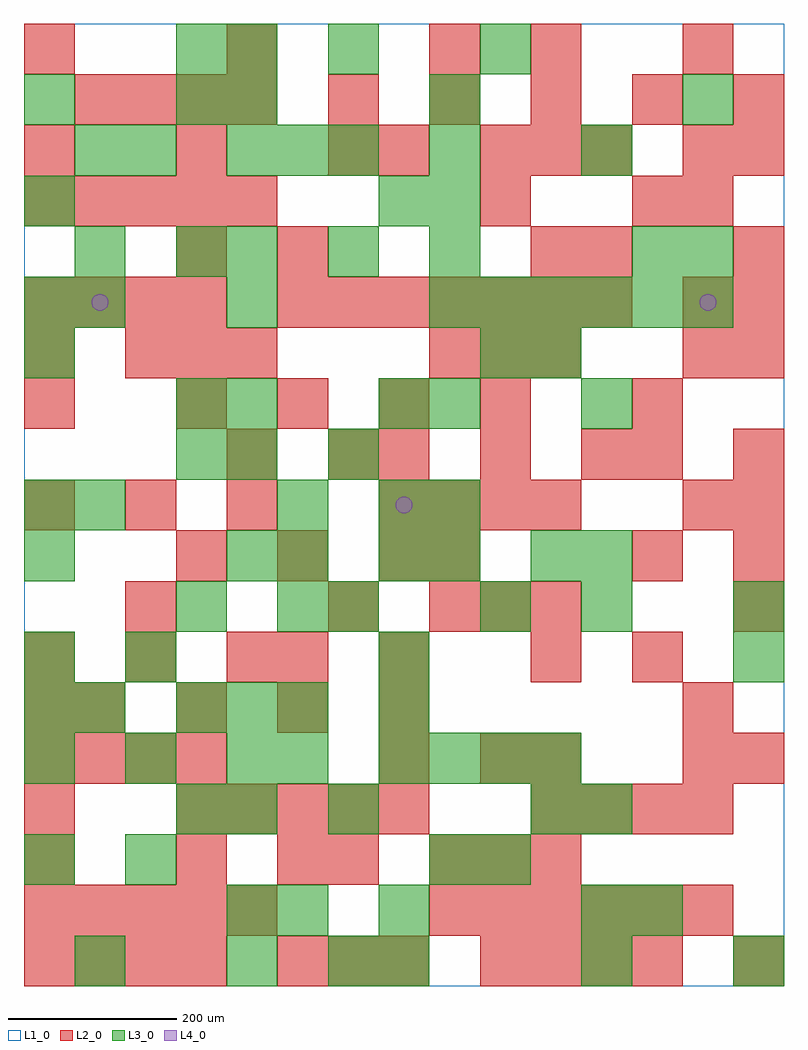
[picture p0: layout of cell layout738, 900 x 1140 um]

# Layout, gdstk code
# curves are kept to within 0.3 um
import gdstk
lib = gdstk.Library(unit=1e-6, precision=1e-09)
def R(c, l, rs):  # rectangles x0, y0, x1, y1
    for r in rs: c.add(gdstk.rectangle(r[:2], r[2:], *l))
def A(c, l, x, y, w, h, nx, ny, dx, dy):  # array of equal rectangles
    R(c, l, [(x+i*dx, y+j*dy, x+i*dx+w, y+j*dy+h) for i in range(nx) for j in range(ny)])
def P(c, l, *ps):  # polygons
    for p in ps: c.add(gdstk.Polygon(p, *l))
L1_0 = (1, 0)
L2_0 = (2, 0)
L3_0 = (3, 0)
L4_0 = (4, 0)

layout738 = lib.new_cell('layout738')
R(layout738, L1_0, [(0,0,900,1140)])
A(layout738, L2_0, 0, 0, 60, 60, 4, 2, 60, 240)
A(layout738, L2_0, 300, 0, 60, 60, 3, 1, 60, 0)
A(layout738, L2_0, 540, 0, 60, 60, 4, 1, 60, 0)
A(layout738, L2_0, 0, 60, 60, 60, 5, 2, 60, 840)
A(layout738, L2_0, 480, 60, 60, 60, 6, 1, 60, 0)
A(layout738, L2_0, 480, 120, 60, 60, 3, 3, 60, 300)
A(layout738, L2_0, 180, 180, 60, 60, 5, 1, 60, 0)
A(layout738, L2_0, 600, 180, 60, 60, 4, 1, 60, 0)
A(layout738, L2_0, 60, 300, 60, 60, 4, 1, 120, 0)
A(layout738, L2_0, 0, 360, 60, 60, 3, 2, 120, 180)
A(layout738, L2_0, 720, 360, 60, 60, 1, 3, 0, 120)
A(layout738, L2_0, 840, 420, 60, 60, 1, 4, 0, 60)
A(layout738, L2_0, 180, 480, 60, 60, 3, 1, 120, 0)
A(layout738, L2_0, 420, 540, 60, 60, 4, 1, 60, 0)
A(layout738, L2_0, 420, 600, 60, 60, 3, 1, 120, 0)
A(layout738, L2_0, 180, 660, 60, 60, 4, 1, 120, 0)
A(layout738, L2_0, 120, 720, 60, 60, 3, 1, 60, 0)
A(layout738, L2_0, 840, 720, 60, 60, 1, 3, 0, 60)
A(layout738, L2_0, 0, 780, 60, 60, 4, 1, 60, 0)
A(layout738, L2_0, 300, 780, 60, 60, 7, 1, 60, 0)
A(layout738, L2_0, 0, 960, 60, 60, 3, 1, 180, 0)
A(layout738, L2_0, 540, 960, 60, 60, 3, 1, 60, 0)
A(layout738, L2_0, 60, 1020, 60, 60, 4, 1, 60, 0)
A(layout738, L2_0, 360, 1020, 60, 60, 5, 1, 120, 0)
A(layout738, L2_0, 0, 1080, 60, 60, 3, 1, 240, 0)
R(layout738, L2_0, [(840,0,900,60), (0,120,60,180), (180,120,240,180), (300,120,360,180), (360,120,420,180), (0,180,60,240), (420,240,480,300), (540,240,600,300), (600,240,660,300), (780,240,840,300), (840,240,900,300), (0,300,60,360), (780,300,840,360), (300,360,360,420), (420,360,480,420), (600,360,660,420), (120,420,180,480), (360,420,420,480), (480,480,540,540), (780,540,840,600), (240,600,300,660), (360,600,420,660), (0,660,60,720), (720,660,780,720), (0,720,60,780), (780,720,840,780), (780,780,840,840), (180,840,240,900), (300,840,360,900), (600,840,660,900), (660,840,720,900), (540,900,600,960), (720,900,780,960), (780,900,840,960), (420,960,480,1020), (780,960,840,1020), (840,960,900,1020), (600,1080,660,1140), (780,1080,840,1140)])
A(layout738, L3_0, 300, 60, 60, 60, 1, 3, 0, 180)
A(layout738, L3_0, 540, 120, 60, 60, 1, 3, 0, 300)
A(layout738, L3_0, 0, 240, 60, 60, 3, 1, 120, 0)
A(layout738, L3_0, 420, 240, 60, 60, 4, 1, 60, 0)
A(layout738, L3_0, 60, 300, 60, 60, 1, 3, 0, 240)
A(layout738, L3_0, 180, 300, 60, 60, 3, 1, 60, 0)
A(layout738, L3_0, 180, 660, 60, 60, 1, 3, 0, 180)
A(layout738, L3_0, 0, 780, 60, 60, 1, 3, 0, 120)
A(layout738, L3_0, 480, 780, 60, 60, 6, 1, 60, 0)
A(layout738, L3_0, 240, 840, 60, 60, 3, 1, 120, 0)
A(layout738, L3_0, 480, 900, 60, 60, 1, 3, 0, 60)
A(layout738, L3_0, 240, 960, 60, 60, 3, 1, 60, 0)
R(layout738, L3_0, [(60,0,120,60), (240,0,300,60), (360,0,420,60), (420,0,480,60), (660,0,720,60), (840,0,900,60), (240,60,300,120), (420,60,480,120), (660,60,720,120), (720,60,780,120), (0,120,60,180), (120,120,180,180), (480,120,540,180), (180,180,240,240), (240,180,300,240), (360,180,420,240), (600,180,660,240), (660,180,720,240), (0,300,60,360), (420,300,480,360), (0,360,60,420), (120,360,180,420), (420,360,480,420), (840,360,900,420), (180,420,240,480), (360,420,420,480), (660,420,720,480), (840,420,900,480), (0,480,60,540), (240,480,300,540), (300,480,360,540), (420,480,480,540), (480,480,540,540), (600,480,660,540), (660,480,720,540), (0,540,60,600), (300,540,360,600), (420,540,480,600), (480,540,540,600), (180,600,240,660), (240,600,300,660), (360,600,420,660), (240,660,300,720), (420,660,480,720), (480,660,540,720), (660,660,720,720), (0,720,60,780), (600,720,660,780), (240,780,300,840), (60,840,120,900), (720,840,780,900), (780,840,840,900), (420,900,480,960), (60,960,120,1020), (120,960,180,1020), (660,960,720,1020), (240,1020,300,1080), (780,1020,840,1080), (180,1080,240,1140), (240,1080,300,1140), (360,1080,420,1140), (540,1080,600,1140)])
P(layout738, L4_0, [(100,810),(99.239,813.827),(97.071,817.071),(93.827,819.239),(90,820),(86.173,819.239),(82.929,817.071),(80.761,813.827),(80,810),(80.761,806.173),(82.929,802.929),(86.173,800.761),(90,800),(93.827,800.761),(97.071,802.929),(99.239,806.173)],
  [(460,570),(459.239,573.827),(457.071,577.071),(453.827,579.239),(450,580),(446.173,579.239),(442.929,577.071),(440.761,573.827),(440,570),(440.761,566.173),(442.929,562.929),(446.173,560.761),(450,560),(453.827,560.761),(457.071,562.929),(459.239,566.173)],
  [(820,810),(819.239,813.827),(817.071,817.071),(813.827,819.239),(810,820),(806.173,819.239),(802.929,817.071),(800.761,813.827),(800,810),(800.761,806.173),(802.929,802.929),(806.173,800.761),(810,800),(813.827,800.761),(817.071,802.929),(819.239,806.173)])

lib.write_gds('layout738.gds')
